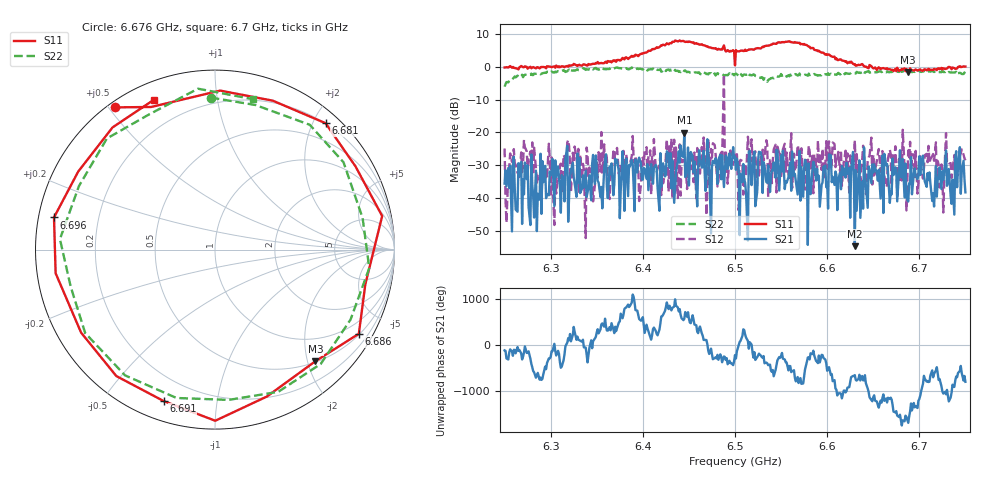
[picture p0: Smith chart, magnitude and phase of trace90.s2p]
# Hz S RI R 50
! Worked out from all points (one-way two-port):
!   401 points, 6.25 GHz to 6.75 GHz, reference 50 ohm
!   highest |S21| = -20.12 dB at 6.445 GHz (marker M1); lowest = -54.8 dB at 6.63 GHz (marker M2)
!   lowest |S11| = -1.6 dB at 6.688 GHz (marker M3), VSWR 11.23, Z = 25.9 - j107 ohm
!   |S11| at or under -10 dB: nowhere
!   |S22| runs from -6.0 to -0.2 dB; largest |S21 - S12| = 0.76
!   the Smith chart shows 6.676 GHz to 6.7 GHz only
!   S11 on the Smith chart (normalised r, x): 6.676 GHz: 0.02, +0.52; 6.681 GHz: 0.19, +2.19; 6.686 GHz: 0.53, -3.62; 6.691 GHz: 0.09, -0.71; 6.696 GHz: 0.04, +0.10; 6.7 GHz: 0.08, +0.67
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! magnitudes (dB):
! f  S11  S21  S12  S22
! 6.25 GHz  -0.2  -35.7  -24.9  -6.0
! 6.285 GHz  -0.1  -50.2  -35.8  -2.1
! 6.291 GHz  -0.1  -28.8  -33.4  -1.9
! 6.306 GHz  0.4  -33.5  -38.7  -1.6
! 6.318 GHz  0.3  -24.1  -23.1  -1.3
! 6.334 GHz  0.4  -37.2  -34.5  -0.7
! 6.418 GHz  6.0  -44.0  -30.0  -0.9
! 6.445 GHz  7.8  -20.1  -28.3  -1.1
! 6.5 GHz  0.5  -27.4  -26.9  -2.2
! 6.511 GHz  5.3  -35.4  -29.6  -2.4
! 6.518 GHz  5.4  -36.1  -22.1  -2.6
! 6.584 GHz  5.8  -31.4  -27.2  -2.6
! 6.63 GHz  0.9  -54.8  -22.5  -1.9
! 6.668 GHz  -0.7  -41.6  -25.3  -1.6
! 6.676 GHz  -0.3  -41.1  -39.5  -1.4
! 6.681 GHz  -0.6  -33.8  -34.7  -1.5
! 6.686 GHz  -0.6  -39.7  -43.8  -1.2
! 6.688 GHz  -1.6  -41.1  -25.5  -1.5
! 6.691 GHz  -1.0  -27.6  -36.1  -1.3
! 6.696 GHz  -0.8  -33.2  -25.7  -1.3
! 6.7 GHz  -0.9  -27.3  -28.1  -1.3
! 6.75 GHz  0.1  -38.3  -28.6  -2.3
